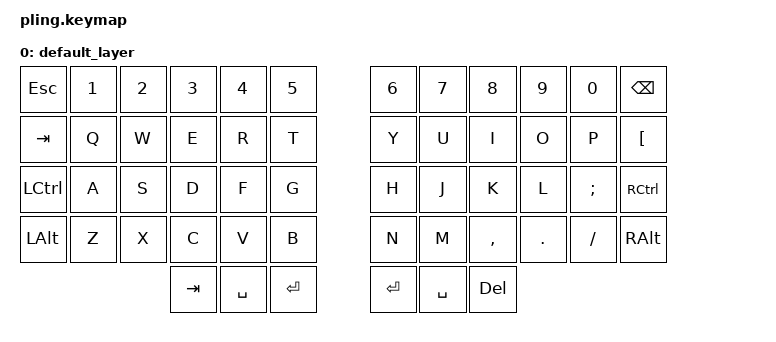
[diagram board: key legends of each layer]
// This file was generated from a template. Edit it to match your keyboard.
// See https://zmk.dev/docs/development/hardware-integration/new-shield for more instructions.

#include <behaviors.dtsi>
#include <dt-bindings/zmk/keys.h>

/ {
    // Define a default keymap here.
    // See https://zmk.dev/docs/development/hardware-integration/new-shield#default-keymap.
    keymap {
        compatible = "zmk,keymap";

        default_layer {
            bindings = <
                &kp N1 &kp N2    &kp N3 &kp N4
                &kp A  &kp B     &kp C  &kp D
            >;

            bindings = <
                &kp ESC     &kp 1   &kp 2   &kp 3         &kp 4             &kp 5         &kp 6         &kp 7            &kp 8         &kp 9     &kp 0      &kp BSPC       
                &kp TAB     &kp Q   &kp W   &kp E         &kp R             &kp T         &kp Y         &kp U            &kp I         &kp O     &kp P      &kp LBKT       
                &kp LCTRL   &kp A   &kp S   &kp D         &kp F             &kp G         &kp H         &kp J            &kp K         &kp L     &kp SEMI   &kp RCTRL 
                &kp LALT    &kp Z   &kp X   &kp C         &kp V             &kp B         &kp N         &kp M            &kp COMMA     &kp DOT   &kp FSLH   &kp RALT
                                            &kp  TAB      &kp SPACE         &kp RET       &kp RET       &kp SPACE        &kp DEL
            >;

        };
    };
};
